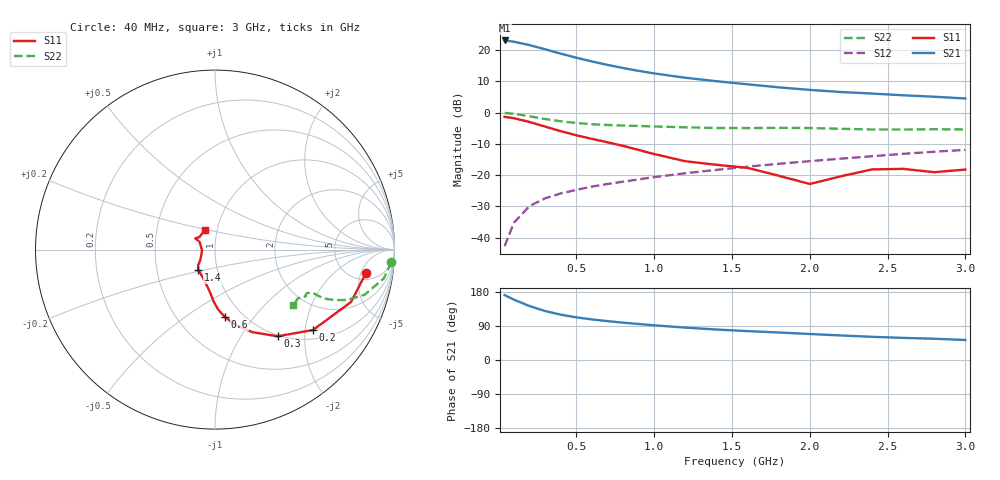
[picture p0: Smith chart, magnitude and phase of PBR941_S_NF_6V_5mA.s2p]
! Filename:  PBR941M.S2P  Version:  3.0
! Philips part #:  PBR941  Date: July 1998
! Bias condition:  Vce=6V, Ic=5.0mA
#  MHz  S  MA  R 50
! Freq  S11  S21  S12  S22
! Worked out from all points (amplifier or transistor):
!   21 points, 40 MHz to 3 GHz, reference 50 ohm
!   highest |S21| = 23.0 dB at 40 MHz (marker M1)
!   |S21| within 3 dB of that: start of sweep to 313.4 MHz
!   unconditionally stable (mu >= 1): 1.323 GHz to 2.52 GHz
!   at 300 MHz: K = 0.48, MSG = 23.8 dB, |S12| = -27.4 dB
!   at 1 GHz: K = 0.94, MSG = 16.6 dB, |S12| = -20.7 dB
!   at 3 GHz: K = 0.99, MSG = 8.2 dB, |S12| = -11.9 dB
!   lowest NFmin = 1.34 dB at 900 MHz
!   S11 on the Smith chart (normalised r, x): 40 MHz: 6.60, -6.20; 200 MHz: 1.23, -2.20; 300 MHz: 0.98, -1.47; 600 MHz: 0.83, -0.73; 1.4 GHz: 0.81, -0.19; 3 GHz: 0.87, +0.19
40  0.8518 -8.7  14.18 171.2  0.007316 83.6  0.9852 -4.1
100  0.8122 -21.1  13.53 159.3  0.0174 80.2  0.9537 -9.7
200  0.7064 -39.4  11.95 142.3  0.03207 71.4  0.8705 -16.8
300  0.5955 -54.2  10.26 129.3  0.0425 67.6  0.7878 -20.9
400  0.5041 -65.8  8.731 119.7  0.05085 65.8  0.7241 -22.9
500  0.4329 -75.0  7.519 112.5  0.05801 65.7  0.6799 -23.8
600  0.3798 -81.6  6.553 107.1  0.06546 66.4  0.6506 -24.1
700  0.3348 -87.0  5.781 102.6  0.07205 67.2  0.6318 -24.1
800  0.2936 -91.0  5.149 98.6  0.07829 68.2  0.6195 -24.0
900  0.2524 -95.1  4.633 95.0  0.0854 69.3  0.609 -23.9
1000  0.2174 -100.2  4.219 91.6  0.09273 70.2  0.5995 -23.9
1200  0.1666 -115.1  3.596 85.5  0.1071 71.3  0.5804 -24.3
1400  0.1461 -129.5  3.165 80.4  0.1212 72.2  0.5663 -25.4
1600  0.1307 -136.3  2.823 76.3  0.1364 73.4  0.5647 -26.5
1800  0.09772 -145.9  2.529 72.6  0.1514 74.3  0.5692 -27.2
2000  0.07218 -176.0  2.299 68.6  0.1671 74.4  0.565 -27.7
2200  0.0957 153.7  2.127 64.7  0.1832 74.3  0.5491 -28.6
2400  0.1232 150.3  2.009 61.2  0.2 74.4  0.5358 -30.6
2600  0.1259 150.4  1.885 58.4  0.2187 74.6  0.5354 -33.1
2800  0.1112 140.4  1.788 56.1  0.2363 74.6  0.5409 -34.9
3000  0.1227 118.3  1.677 52.8  0.2528 74.0  0.5363 -35.4
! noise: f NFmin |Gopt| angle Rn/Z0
500  1.372  0.368  12.68  0.302
900  1.344  0.322  23.15  0.263
1000  1.403  0.31  28.56  0.283
2000  2.036  0.07  103.2  0.226
